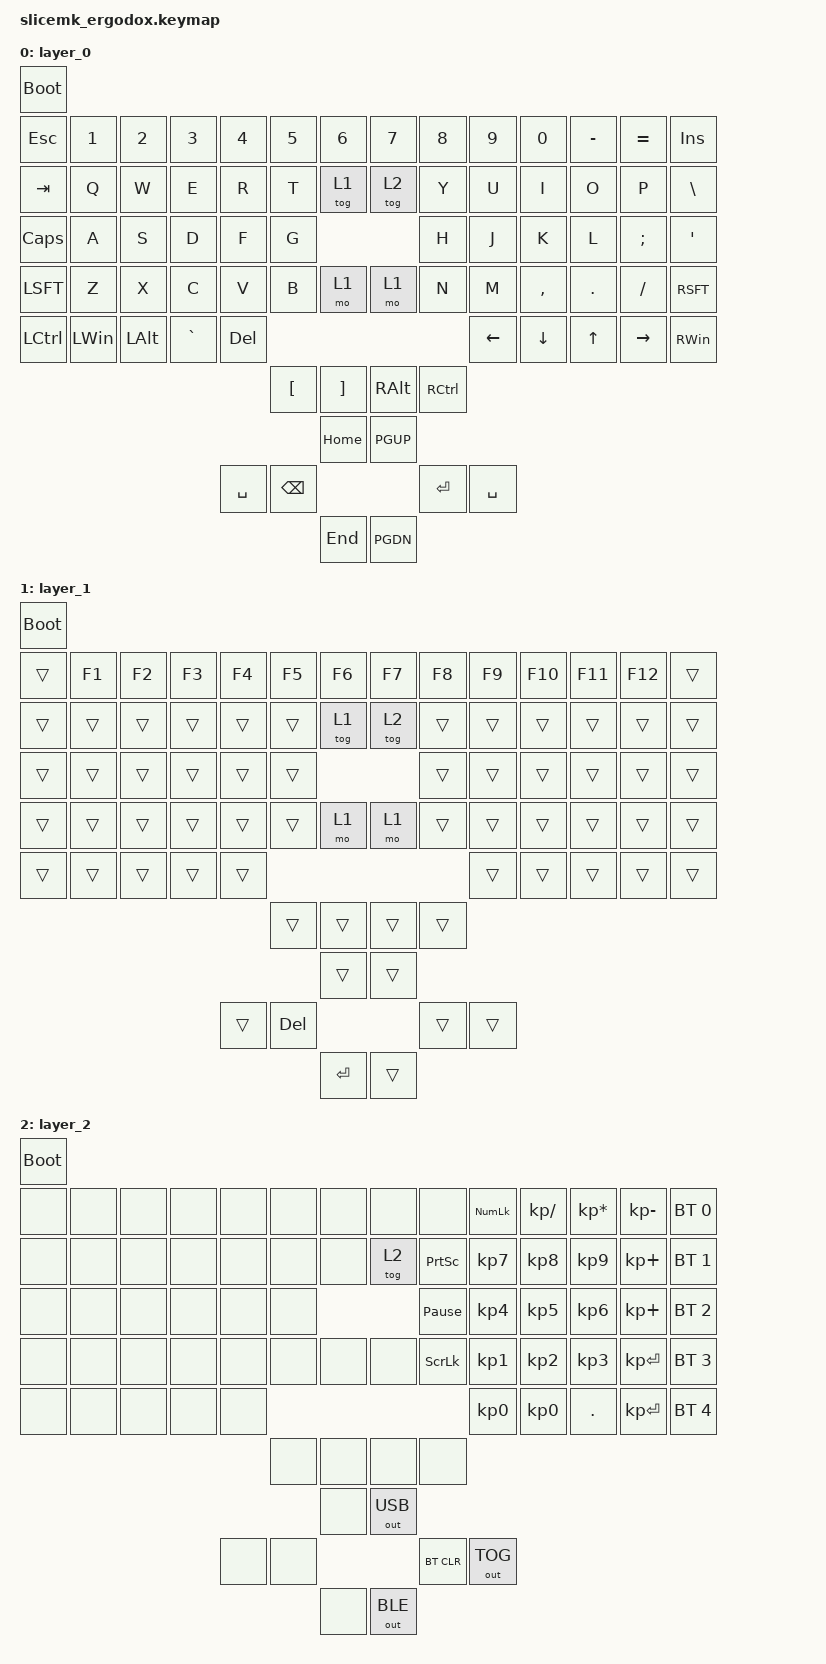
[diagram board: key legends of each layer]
#include <behaviors.dtsi>
#include <dt-bindings/zmk/bt.h>
#include <dt-bindings/zmk/keys.h>
#include <dt-bindings/zmk/outputs.h>

/ {
        keymap {
                compatible = "zmk,keymap";

                layer_0 {
                        bindings = <
    &bootloader
    &kp ESC    &kp N1     &kp N2     &kp N3     &kp N4     &kp N5     &kp N6     &kp N7     &kp N8     &kp N9     &kp N0     &kp MINUS  &kp EQUAL  &kp INS
    &kp TAB    &kp Q      &kp W      &kp E      &kp R      &kp T      &tog 1     &tog 2     &kp Y      &kp U      &kp I      &kp O      &kp P      &kp BSLH
    &kp CAPS   &kp A      &kp S      &kp D      &kp F      &kp G                            &kp H      &kp J      &kp K      &kp L      &kp SCLN   &kp APOS
    &kp LSFT   &kp Z      &kp X      &kp C      &kp V      &kp B      &mo 1      &mo 1      &kp N      &kp M      &kp CMMA   &kp DOT    &kp FSLH   &kp RSFT
    &kp LCTRL  &kp LWIN   &kp LALT   &kp GRAVE  &kp DEL                                                &kp LEFT   &kp DOWN   &kp UP     &kp RIGHT  &kp RWIN
                                                           &kp LBKT   &kp RBKT   &kp RALT   &kp RCTRL
                                                                      &kp HOME   &kp PGUP
                                                &kp SPC    &kp BSPC                         &kp ENTER  &kp SPC
                                                                      &kp END    &kp PGDN
                        >;
                };

                layer_1 {
                        bindings = <
    &bootloader
    &trans     &kp F1     &kp F2     &kp F3     &kp F4     &kp F5     &kp F6     &kp F7     &kp F8     &kp F9     &kp F10    &kp F11    &kp F12    &trans
    &trans     &trans     &trans     &trans     &trans     &trans     &tog 1     &tog 2     &trans     &trans     &trans     &trans     &trans     &trans
    &trans     &trans     &trans     &trans     &trans     &trans                           &trans     &trans     &trans     &trans     &trans     &trans
    &trans     &trans     &trans     &trans     &trans     &trans     &mo 1      &mo 1      &trans     &trans     &trans     &trans     &trans     &trans
    &trans     &trans     &trans     &trans     &trans                                                 &trans     &trans     &trans     &trans     &trans
                                                           &trans     &trans     &trans     &trans
                                                                      &trans     &trans
                                                &trans     &kp DEL                          &trans     &trans
                                                                      &kp ENTER  &trans
                        >;
                };

                layer_2 {
                        bindings = <
    &bootloader
    &none      &none      &none      &none      &none      &none      &none      &none      &none           &kp KP_NUM &kp KP_DIVIDE &kp KP_MULTIPLY &kp KP_MINUS &bt BT_SEL 0
    &none      &none      &none      &none      &none      &none      &none      &tog 2     &kp PSCRN       &kp KP_N7  &kp KP_N8     &kp KP_N9       &kp KP_PLUS  &bt BT_SEL 1
    &none      &none      &none      &none      &none      &none                            &kp PAUSE_BREAK &kp KP_N4  &kp KP_N5     &kp KP_N6       &kp KP_PLUS  &bt BT_SEL 2
    &none      &none      &none      &none      &none      &none      &none      &none      &kp SLCK        &kp KP_N1  &kp KP_N2     &kp KP_N3       &kp KP_ENTER &bt BT_SEL 3
    &none      &none      &none      &none      &none                                                       &kp KP_N0  &kp KP_N0     &kp DOT         &kp KP_ENTER &bt BT_SEL 4
                                                           &none      &none      &none      &none
                                                                      &none      &out OUT_USB
                                                &none      &none                            &bt BT_CLR      &out OUT_TOG
                                                                      &none      &out OUT_BLE
                        >;
                };

        };
};
